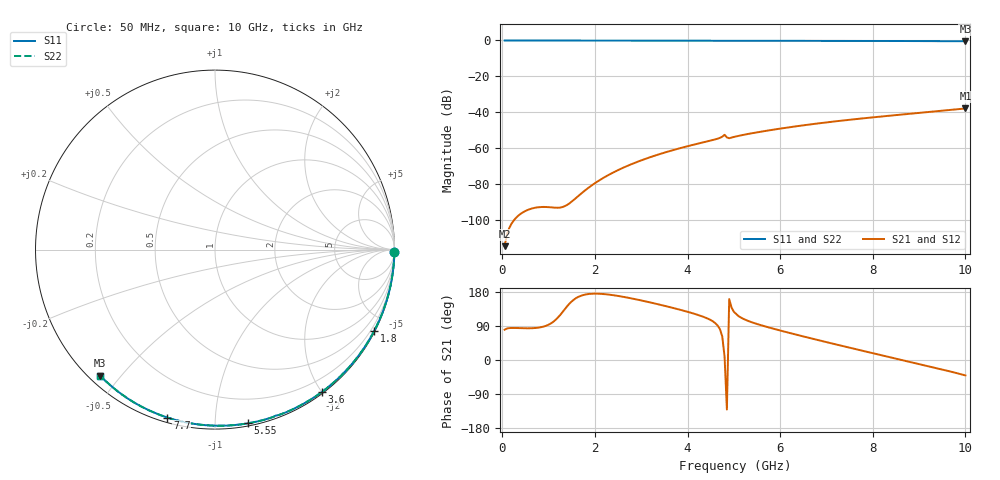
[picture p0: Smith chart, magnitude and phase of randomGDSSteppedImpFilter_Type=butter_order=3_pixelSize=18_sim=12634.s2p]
! freq	dB(S11)	phase(S11)	dB(S12)	phase(S12)
!  dB(S21)	phase(S21)	dB(S22)	phase(S22)
!S-par simulation data
#  GHz  S  DB  R 50
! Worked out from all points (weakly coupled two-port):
!   200 points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, 50 MHz to 10 GHz, reference 50 ohm
!   highest |S21| = -37.87 dB at 10 GHz (marker M1); lowest = -114.5 dB at 50 MHz (marker M2)
!   lowest |S11| = -0.4 dB at 10 GHz (marker M3), VSWR 38.95, Z = 1.53 - j22 ohm
!   |S11| at or under -10 dB: nowhere
!   |S22| runs from -0.4 to 0.0 dB; largest |S21 - S12| = 0
!   S11 on the Smith chart (normalised r, x): 50 MHz: open; 1.8 GHz: 0.04, -4.14; 3.6 GHz: 0.02, -2.00; 5.55 GHz: 0.02, -1.21; 7.7 GHz: 0.02, -0.76; 10 GHz: 0.03, -0.44
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0.05  -0.00 -0.8  -114.52 79.9  -114.52 79.9  -0.00 -0.8
0.9  -0.02 -13.7  -92.67 88.4  -92.67 88.4  -0.02 -13.7
1.75  -0.03 -26.4  -84.24 171.4  -84.24 171.4  -0.03 -26.4
1.8  -0.03 -27.1  -83.20 172.9  -83.20 172.9  -0.03 -27.1
1.95  -0.04 -29.4  -80.34 175.0  -80.34 175.0  -0.04 -29.4
2.35  -0.05 -35.2  -74.10 171.8  -74.10 171.8  -0.05 -35.2
2.65  -0.05 -39.6  -70.39 165.9  -70.39 165.9  -0.05 -39.6
3  -0.06 -44.6  -66.75 157.2  -66.75 157.2  -0.06 -44.6
3.4  -0.07 -50.3  -63.25 146.1  -63.25 146.1  -0.07 -50.3
3.6  -0.07 -53.1  -61.69 140.1  -61.69 140.1  -0.07 -53.1
4.65  -0.10 -67.5  -54.67 90.9  -54.67 90.9  -0.10 -67.5
4.75  -0.11 -68.9  -53.58 62.1  -53.58 62.1  -0.11 -68.9
4.8  -0.13 -69.6  -52.51 8.3  -52.51 8.3  -0.13 -69.6
4.85  -0.13 -70.0  -54.00 -130.8  -54.00 -130.8  -0.13 -70.0
4.9  -0.11 -70.7  -54.43 160.9  -54.43 160.9  -0.11 -70.7
5.05  -0.11 -72.7  -53.41 121.6  -53.41 121.6  -0.11 -72.7
5.55  -0.13 -79.2  -50.94 93.2  -50.94 93.2  -0.13 -79.2
6.7  -0.18 -93.7  -46.57 56.1  -46.57 56.1  -0.18 -93.7
7.7  -0.24 -105.8  -43.60 26.6  -43.60 26.6  -0.24 -105.8
8.35  -0.29 -113.5  -41.92 8.1  -41.92 8.1  -0.29 -113.5
9.15  -0.36 -122.7  -39.96 -14.7  -39.96 -14.7  -0.36 -122.7
10  -0.45 -132.4  -37.87 -40.6  -37.87 -40.6  -0.45 -132.4
